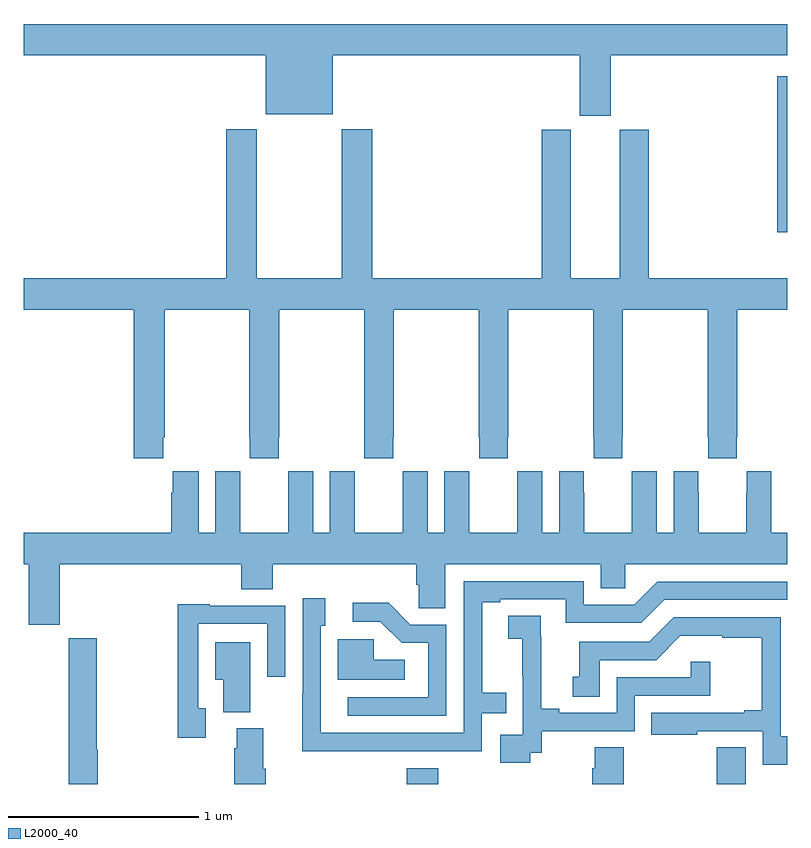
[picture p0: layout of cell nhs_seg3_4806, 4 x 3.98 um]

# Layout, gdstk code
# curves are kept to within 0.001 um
import gdstk
lib = gdstk.Library(unit=1e-6, precision=1e-09)
def R(c, l, rs):  # rectangles x0, y0, x1, y1
    for r in rs: c.add(gdstk.rectangle(r[:2], r[2:], *l))
def P(c, l, *ps):  # polygons
    for p in ps: c.add(gdstk.Polygon(p, *l))
L2000_40 = (2000, 40)

nhs_seg3_4806 = lib.new_cell('nhs_seg3_4806')
R(nhs_seg3_4806, L2000_40, [(371.006,730.4,371.171,730.483), (372.629,730.4,372.781,730.592), (372.946,733.29,373,734.107)])
P(nhs_seg3_4806, L2000_40, [(372.076,734.216),(373,734.216),(373,734.38),(369,734.38),(369,734.216),(370.268,734.216),(370.268,733.907),(370.618,733.907),(370.618,734.216),(371.912,734.216),(371.912,733.899),(372.076,733.899)],
  [(369.731,732.217),(369.738,732.217),(369.738,732.884),(370.183,732.884),(370.183,732.217),(370.185,732.217),(370.185,732.105),(370.335,732.105),(370.335,732.217),(370.338,732.217),(370.338,732.884),(370.783,732.884),(370.783,732.217),(370.785,732.217),(370.785,732.105),(370.935,732.105),(370.935,732.217),(370.938,732.217),(370.938,732.884),(371.383,732.884),(371.383,732.217),(371.385,732.217),(371.385,732.105),(371.535,732.105),(371.535,732.217),(371.538,732.217),(371.538,732.884),(371.983,732.884),(371.983,732.217),(371.985,732.217),(371.985,732.105),(372.135,732.105),(372.135,732.217),(372.138,732.217),(372.138,732.884),(372.583,732.884),(372.583,732.217),(372.585,732.217),(372.585,732.105),(372.735,732.105),(372.735,732.217),(372.738,732.217),(372.738,732.884),(373,732.884),(373,733.048),(372.275,733.048),(372.275,733.827),(372.122,733.827),(372.122,733.048),(371.866,733.048),(371.866,733.827),(371.714,733.827),(371.714,733.048),(370.826,733.048),(370.826,733.828),(370.666,733.828),(370.666,733.048),(370.221,733.048),(370.221,733.828),(370.061,733.828),(370.061,733.048),(369,733.048),(369,732.884),(369.578,732.884),(369.578,732.105),(369.731,732.105)],
  [(371.057,731.443),(371.07,731.443),(371.07,731.32),(371.209,731.32),(371.209,731.552),(372.023,731.552),(372.023,731.425),(372.15,731.425),(372.15,731.552),(373,731.552),(373,731.716),(372.916,731.716),(372.916,732.037),(372.786,732.037),(372.786,731.924),(372.785,731.924),(372.785,731.716),(372.535,731.716),(372.535,731.924),(372.534,731.924),(372.534,732.037),(372.404,732.037),(372.404,731.716),(372.316,731.716),(372.316,732.037),(372.186,732.037),(372.186,731.924),(372.185,731.924),(372.185,731.716),(371.935,731.716),(371.935,731.924),(371.934,731.924),(371.934,732.037),(371.804,732.037),(371.804,731.716),(371.716,731.716),(371.716,732.037),(371.586,732.037),(371.586,731.924),(371.585,731.924),(371.585,731.716),(371.335,731.716),(371.335,731.924),(371.334,731.924),(371.334,732.037),(371.204,732.037),(371.204,731.716),(371.116,731.716),(371.116,732.037),(370.986,732.037),(370.986,731.924),(370.985,731.924),(370.985,731.716),(370.735,731.716),(370.735,731.924),(370.734,731.924),(370.734,732.037),(370.604,732.037),(370.604,731.716),(370.516,731.716),(370.516,732.037),(370.386,732.037),(370.386,731.924),(370.385,731.924),(370.385,731.716),(370.135,731.716),(370.135,731.924),(370.134,731.924),(370.134,732.037),(370.004,732.037),(370.004,731.716),(369.916,731.716),(369.916,732.037),(369.782,732.037),(369.782,731.924),(369.773,731.924),(369.773,731.716),(369,731.716),(369,731.552),(369.026,731.552),(369.026,731.235),(369.19,731.235),(369.19,731.552),(370.139,731.552),(370.139,731.419),(370.304,731.419),(370.304,731.552),(371.057,731.552)],
  [(370.922,730.572),(371.4,730.572),(371.4,730.77),(371.528,730.77),(371.528,730.879),(371.401,730.879),(371.401,731.352),(371.497,731.352),(371.497,731.367),(371.838,731.367),(371.838,731.244),(372.234,731.244),(372.354,731.364),(373,731.364),(373,731.46),(372.318,731.46),(372.198,731.34),(371.934,731.34),(371.934,731.463),(371.304,731.463),(371.304,730.668),(370.557,730.668),(370.557,731.229),(370.579,731.229),(370.579,731.374),(370.461,731.374),(370.46,730.571)],
  [(371.214,731.235),(371.025,731.235),(370.912,731.348),(370.725,731.348),(370.725,731.25),(370.869,731.25),(370.98,731.139),(371.118,731.139),(371.118,730.854),(370.698,730.854),(370.698,730.758),(371.214,730.758)],
  [(369.955,730.797),(369.915,730.797),(369.915,731.238),(370.275,731.238),(370.275,730.962),(370.371,730.962),(370.371,731.334),(369.975,731.334),(369.975,731.341),(369.807,731.341),(369.807,730.641),(369.955,730.641)],
  [(371.652,730.563),(371.714,730.563),(371.714,730.677),(372.201,730.677),(372.201,730.863),(372.596,730.863),(372.596,731.041),(372.495,731.041),(372.495,730.959),(372.105,730.959),(372.105,730.773),(371.806,730.773),(371.806,730.793),(371.71,730.793),(371.71,731.171),(371.708,731.171),(371.708,731.282),(371.538,731.282),(371.538,731.161),(371.612,731.161),(371.612,730.963),(371.613,730.963),(371.613,730.659),(371.496,730.659),(371.496,730.512),(371.652,730.512)],
  [(373,730.651),(372.966,730.651),(372.966,731.274),(372.405,731.274),(372.276,731.145),(371.909,731.145),(371.909,730.962),(371.876,730.962),(371.876,730.858),(372.016,730.858),(372.016,731.049),(372.312,731.049),(372.44,731.177),(372.659,731.177),(372.659,731.166),(372.865,731.166),(372.865,730.786),(372.773,730.786),(372.773,730.773),(372.286,730.773),(372.286,730.658),(372.529,730.658),(372.529,730.677),(372.87,730.677),(372.87,730.5),(373,730.5)],
  [(369.389,730.58),(369.384,730.58),(369.384,731.163),(369.236,731.163),(369.236,730.4),(369.389,730.4)],
  [(370.996,731.05),(370.833,731.05),(370.833,731.157),(370.646,731.157),(370.646,730.946),(370.996,730.946)],
  [(370.186,731.143),(370.004,731.143),(370.004,730.946),(370.046,730.946),(370.046,730.777),(370.186,730.777)],
  [(370.268,730.48),(370.255,730.48),(370.255,730.692),(370.115,730.692),(370.115,730.586),(370.103,730.586),(370.103,730.4),(370.268,730.4)],
  [(372.143,730.592),(371.99,730.592),(371.99,730.482),(371.978,730.482),(371.978,730.4),(372.143,730.4)])

lib.write_gds('nhs_seg3_4806.gds')
